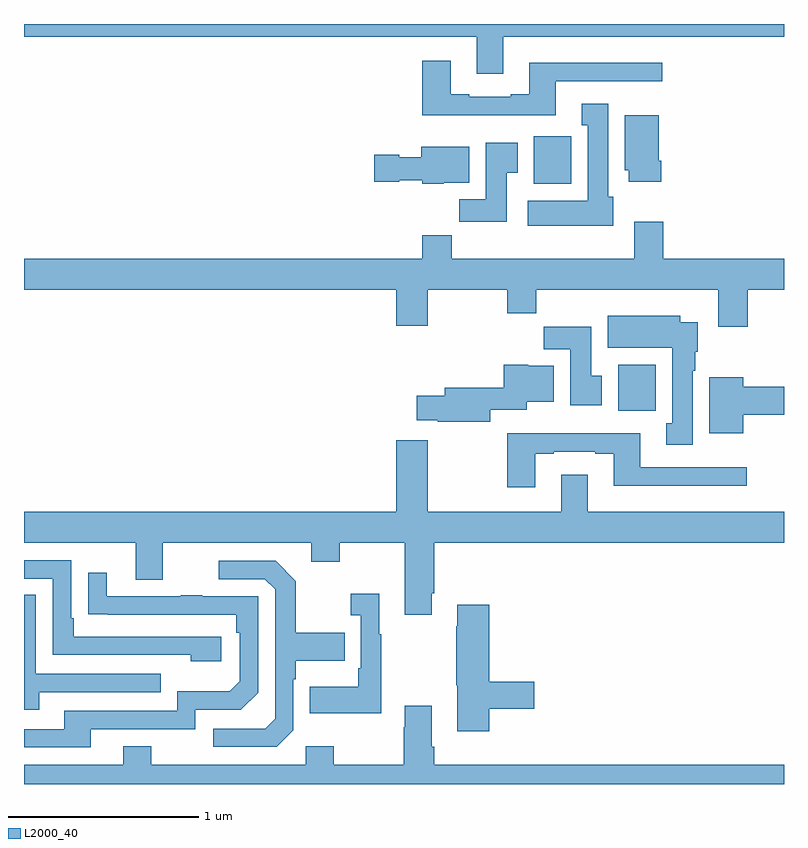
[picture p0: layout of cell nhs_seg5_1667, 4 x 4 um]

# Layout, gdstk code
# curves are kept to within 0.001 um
import gdstk
lib = gdstk.Library(unit=1e-6, precision=1e-09)
def R(c, l, rs):  # rectangles x0, y0, x1, y1
    for r in rs: c.add(gdstk.rectangle(r[:2], r[2:], *l))
def P(c, l, *ps):  # polygons
    for p in ps: c.add(gdstk.Polygon(p, *l))
L2000_40 = (2000, 40)

nhs_seg5_1667 = lib.new_cell('nhs_seg5_1667')
R(nhs_seg5_1667, L2000_40, [(214.127,882.764,214.324,883.006), (213.683,883.958,213.879,884.209)])
P(nhs_seg5_1667, L2000_40, [(213.523,884.732),(215,884.732),(215,884.799),(211,884.799),(211,884.732),(213.383,884.732),(213.383,884.538),(213.523,884.538)],
  [(213.799,884.499),(214.36,884.499),(214.36,884.596),(213.659,884.596),(213.659,884.428),(213.563,884.428),(213.563,884.415),(213.343,884.415),(213.343,884.428),(213.247,884.428),(213.247,884.605),(213.095,884.605),(213.095,884.318),(213.799,884.318)],
  [(214.102,883.89),(214.075,883.89),(214.075,884.38),(213.935,884.38),(213.935,884.267),(213.968,884.267),(213.968,883.87),(213.651,883.87),(213.651,883.736),(214.102,883.736)],
  [(214.355,884.08),(214.342,884.08),(214.342,884.32),(214.163,884.32),(214.163,884.028),(214.184,884.028),(214.184,883.968),(214.355,883.968)],
  [(213.541,884.017),(213.598,884.017),(213.598,884.173),(213.431,884.173),(213.431,883.876),(213.292,883.876),(213.292,883.758),(213.541,883.758)],
  [(213.21,883.964),(213.343,883.964),(213.343,884.152),(213.092,884.152),(213.092,884.098),(212.976,884.098),(212.976,884.111),(212.844,884.111),(212.844,883.969),(212.976,883.969),(212.976,883.976),(213.096,883.976),(213.096,883.958),(213.21,883.958)],
  [(214.808,883.4),(215,883.4),(215,883.564),(214.364,883.564),(214.364,883.759),(214.211,883.759),(214.211,883.564),(213.251,883.564),(213.251,883.688),(213.095,883.688),(213.095,883.564),(211,883.564),(211,883.4),(212.96,883.4),(212.96,883.212),(213.124,883.212),(213.124,883.4),(213.544,883.4),(213.544,883.276),(213.695,883.276),(213.695,883.4),(214.655,883.4),(214.655,883.206),(214.808,883.206)],
  [(214.519,882.974),(214.534,882.974),(214.534,883.074),(214.546,883.074),(214.546,883.228),(214.453,883.228),(214.453,883.264),(214.073,883.264),(214.073,883.094),(214.412,883.094),(214.412,882.698),(214.379,882.698),(214.379,882.585),(214.519,882.585)],
  [(214.042,882.948),(213.985,882.948),(213.985,883.206),(213.736,883.206),(213.736,883.088),(213.875,883.088),(213.875,882.792),(214.042,882.792)],
  [(213.454,882.768),(213.646,882.768),(213.646,882.812),(213.787,882.812),(213.787,883),(213.654,883),(213.654,883.006),(213.524,883.006),(213.524,882.884),(213.215,882.884),(213.215,882.843),(213.066,882.843),(213.066,882.713),(213.178,882.713),(213.178,882.706),(213.454,882.706)],
  [(214.786,882.743),(215,882.743),(215,882.89),(214.786,882.89),(214.786,882.94),(214.607,882.94),(214.607,882.644),(214.786,882.644)],
  [(213.691,882.537),(213.787,882.537),(213.787,882.549),(214.007,882.549),(214.007,882.537),(214.103,882.537),(214.103,882.368),(214.804,882.368),(214.804,882.465),(214.243,882.465),(214.243,882.646),(213.544,882.646),(213.544,882.36),(213.691,882.36)],
  [(213.124,882.607),(212.96,882.607),(212.96,882.232),(211,882.232),(211,882.068),(211.589,882.068),(211.589,881.874),(211.729,881.874),(211.729,882.068),(212.513,882.068),(212.513,881.969),(212.661,881.969),(212.661,882.068),(213.005,882.068),(213.005,881.691),(213.145,881.691),(213.145,881.803),(213.158,881.803),(213.158,882.068),(215,882.068),(215,882.232),(213.967,882.232),(213.967,882.427),(213.827,882.427),(213.827,882.232),(213.124,882.232)],
  [(212.038,881.574),(211.261,881.574),(211.261,881.671),(211.248,881.671),(211.248,881.976),(211,881.976),(211,881.88),(211.152,881.88),(211.152,881.478),(211.877,881.478),(211.877,881.444),(212.038,881.444)],
  [(212.418,881.082),(212.418,881.351),(212.431,881.351),(212.431,881.447),(212.687,881.447),(212.687,881.595),(212.431,881.595),(212.431,881.867),(212.325,881.973),(212.025,881.973),(212.025,881.877),(212.268,881.877),(212.322,881.823),(212.322,881.142),(212.271,881.091),(211.995,881.091),(211.995,880.995),(212.331,880.995)],
  [(211.351,881.088),(211.902,881.088),(211.902,881.19),(212.142,881.19),(212.232,881.28),(212.232,881.787),(211.937,881.787),(211.937,881.792),(211.825,881.792),(211.825,881.787),(211.435,881.787),(211.435,881.911),(211.339,881.911),(211.339,881.692),(212.116,881.691),(212.116,881.594),(212.136,881.594),(212.136,881.34),(212.083,881.287),(211.806,881.287),(211.806,881.184),(211.211,881.184),(211.211,881.088),(211,881.088),(211,880.992),(211.351,880.992)],
  [(212.881,881.587),(212.869,881.587),(212.869,881.8),(212.721,881.8),(212.721,881.687),(212.772,881.687),(212.772,881.407),(212.76,881.407),(212.76,881.311),(212.503,881.311),(212.503,881.171),(212.881,881.171)],
  [(211.081,881.283),(211.721,881.283),(211.721,881.379),(211.062,881.379),(211.062,881.795),(211,881.795),(211,881.189),(211.081,881.189)],
  [(213.449,881.194),(213.685,881.194),(213.685,881.336),(213.449,881.336),(213.449,881.743),(213.281,881.743),(213.281,881.63),(213.274,881.63),(213.274,881.319),(213.281,881.319),(213.281,881.076),(213.449,881.076)],
  [(215,880.9),(213.158,880.9),(213.158,880.996),(213.145,880.996),(213.145,881.212),(213.005,881.212),(213.005,881.099),(212.998,881.099),(212.998,880.9),(212.631,880.9),(212.631,880.999),(212.484,880.999),(212.484,880.9),(211.671,880.9),(211.671,880.999),(211.523,880.999),(211.523,880.9),(211,880.9),(211,880.799),(215,880.799)])

lib.write_gds('nhs_seg5_1667.gds')
